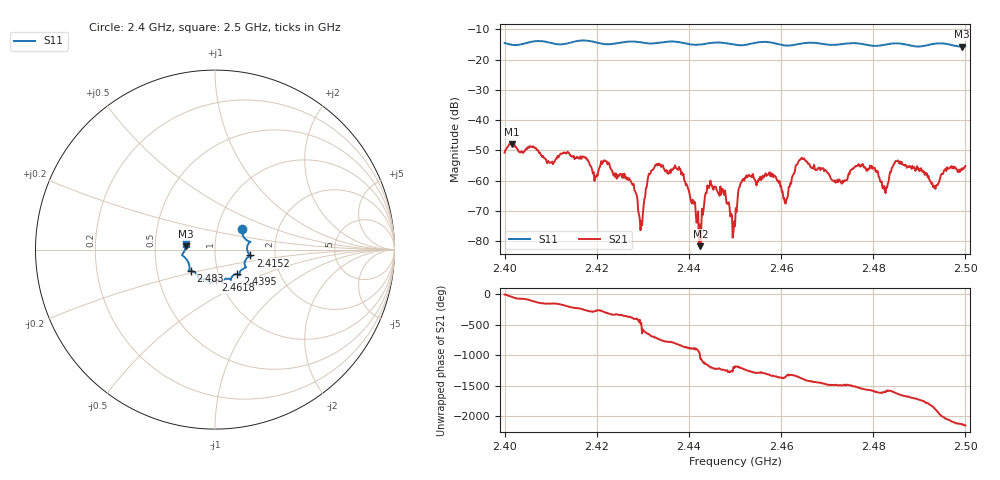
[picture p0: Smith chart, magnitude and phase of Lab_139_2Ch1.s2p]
# Hz S RI R 50
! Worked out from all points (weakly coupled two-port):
!   601 points, 2.4 GHz to 2.5 GHz, reference 50 ohm
!   highest |S21| = -47.85 dB at 2.4015 GHz (marker M1); lowest = -81.6 dB at 2.4425 GHz (marker M2)
!   lowest |S11| = -15.7 dB at 2.4992 GHz (marker M3), VSWR 1.39, Z = 36 + j1.35 ohm
!   |S11| at or under -10 dB: start of sweep to end of sweep
!   S12 and S22 are empty: the file has one direction only
!   S11 on the Smith chart (normalised r, x): 2.4 GHz: 1.31, +0.31; 2.4152 GHz: 1.48, -0.10; 2.4395 GHz: 1.23, -0.34; 2.4618 GHz: 0.95, -0.33; 2.483 GHz: 0.74, -0.18; 2.5 GHz: 0.72, +0.05
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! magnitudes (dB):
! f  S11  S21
! 2.4 GHz  -14.5  -50.7
! 2.4015 GHz  -15.1  -47.8
! 2.4152 GHz  -14.0  -52.8
! 2.4167 GHz  -13.7  -52.7
! 2.4275 GHz  -14.0  -60.6
! 2.4295 GHz  -14.3  -76.3
! 2.4315 GHz  -14.6  -57.9
! 2.4333 GHz  -14.4  -54.3
! 2.4395 GHz  -14.7  -61.2
! 2.4425 GHz  -15.0  -81.6
! 2.4445 GHz  -14.5  -61.5
! 2.45 GHz  -15.1  -75.0
! 2.4527 GHz  -15.0  -58.8
! 2.4618 GHz  -15.3  -62.1
! 2.4642 GHz  -14.7  -53.0
! 2.4667 GHz  -14.4  -55.8
! 2.483 GHz  -14.9  -62.2
! 2.4833 GHz  -14.8  -60.3
! 2.4853 GHz  -14.6  -53.3
! 2.4935 GHz  -14.7  -62.7
! 2.4992 GHz  -15.7  -55.9
! 2.5 GHz  -15.6  -55.1
